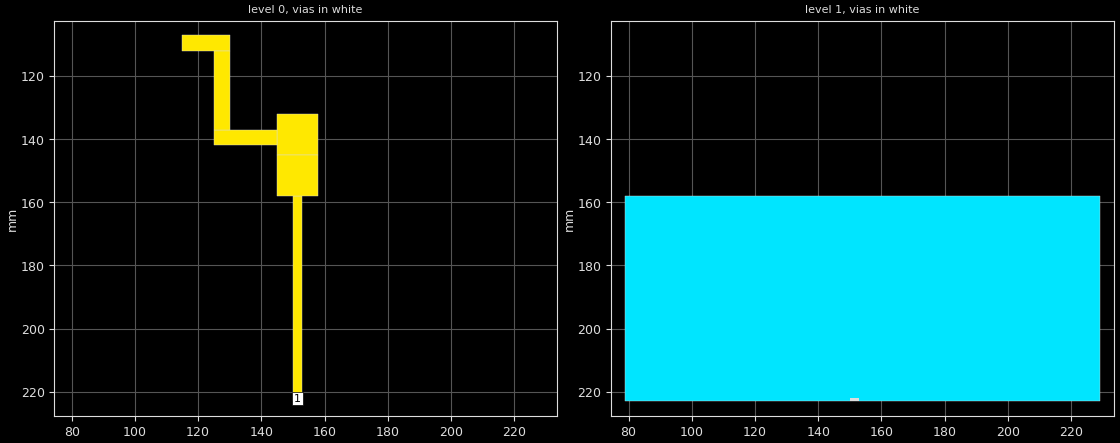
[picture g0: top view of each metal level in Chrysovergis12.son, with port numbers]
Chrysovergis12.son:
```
FTYP SONPROJ 3 ! Sonnet Project File
VER 11.54
HEADER
LIC Sonn.1.12345
DAT 05/22/2016 13:28:44
BUILT_BY_CREATED xgeom 11.54 05/15/2016 15:53:35
BUILT_BY_SAVED xgeom 11.54
MDATE 05/22/2016 13:28:44
HDATE 05/22/2016 13:28:44
END HEADER
DIM
FREQ GHZ
IND NH
LNG MM
ANG DEG
CON /OH
CAP PF
RES OH
END DIM
FREQ
ABS 0.1 1.0 
END FREQ
CONTROL
ABS
OPTIONS  -d 
SPEED 0
CACHE_ABS 1
TARG_ABS 300
Q_ACC N
END CONTROL
GEO
TMET "Free Space" 0 FREESPACE 376.7303136 0 0 0
BMET "Free Space" 0 FREESPACE 376.7303136 0 0 0
BOX 2 300 300 600 600 20 0
      20 1 1 0 0 0 0 "Air"
      1.6 4.2 1 0.02 0 0 0 "FR4"
      20 1 1 0 0 0 0 "Air"
POR1 STD
POLY 8 1
0
1 50 0 0 0 151.5000009 222.0000007 
NUM 8
VIA POLYGON
0 5 -1 N 8 1 1 100 100 0 0 0 Y
TOLEVEL 1
150.0000009 222.0000007
153.0000009 222.0000007
153.0000009 223.0000007
150.0000009 223.0000007
150.0000009 222.0000007
END
0 5 -1 N 10 1 1 100 100 0 0 0 Y
150.0000074 158.0000077
153.0000074 158.0000077
153.0000074 223.0000077
150.0000074 223.0000077
150.0000074 158.0000077
END
0 5 -1 N 11 1 1 100 100 0 0 0 Y
145.0000014 132.0000022
158.0000014 132.0000022
158.0000014 145.0000022
145.0000014 145.0000022
145.0000014 132.0000022
END
0 5 -1 N 14 1 1 100 100 0 0 0 Y
145.0000014 145.0000022
158.0000014 145.0000022
158.0000014 158.0000022
145.0000014 158.0000022
145.0000014 145.0000022
END
0 5 -1 N 18 1 1 100 100 0 0 0 Y
124.9999947 136.9999924
144.9999947 136.9999924
144.9999947 141.9999924
124.9999947 141.9999924
124.9999947 136.9999924
END
0 5 -1 N 19 1 1 100 100 0 0 0 Y
114.9999956 107.0000018
129.9999956 107.0000018
129.9999956 112.0000018
114.9999956 112.0000018
114.9999956 107.0000018
END
0 5 -1 N 20 1 1 100 100 0 0 0 Y
124.9999947 111.9999967
129.9999947 111.9999967
129.9999947 136.9999967
124.9999947 136.9999967
124.9999947 111.9999967
END
1 5 -1 N 22 1 1 100 100 0 0 0 Y
78.99999713 157.9999938
228.9999971 157.9999938
228.9999971 222.9999938
78.99999713 222.9999938
78.99999713 157.9999938
END
END GEO
OPT
MAX 100
VARS
END OPT
VARSWP
END VARSWP
QSG
IMPORT NO
EXTRA_METAL NO
UNITS YES
ALIGN NO
REF NO
VIEW_RES YES
METALS NO
USED YES
END QSG
```
